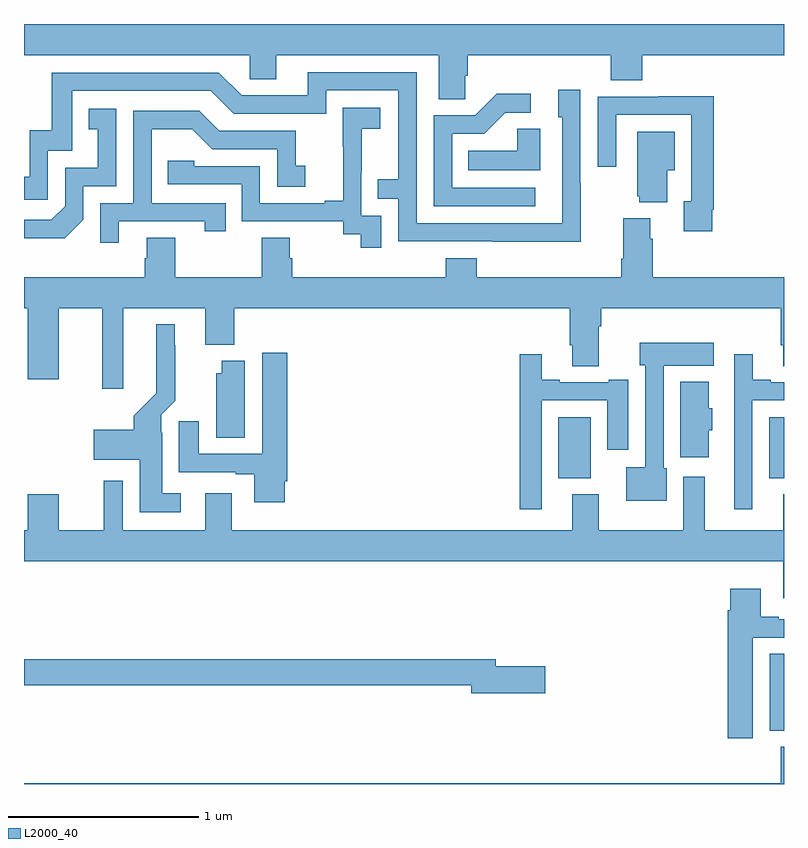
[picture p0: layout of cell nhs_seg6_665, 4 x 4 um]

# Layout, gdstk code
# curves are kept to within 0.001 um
import gdstk
lib = gdstk.Library(unit=1e-6, precision=1e-09)
def R(c, l, rs):  # rectangles x0, y0, x1, y1
    for r in rs: c.add(gdstk.rectangle(r[:2], r[2:], *l))
def P(c, l, *ps):  # polygons
    for p in ps: c.add(gdstk.Polygon(p, *l))
L2000_40 = (2000, 40)

nhs_seg6_665 = lib.new_cell('nhs_seg6_665')
R(nhs_seg6_665, L2000_40, [(156.926,943.781,157,944.186), (155.813,945.11,155.983,945.43), (156.923,945.11,157,945.43)])
P(nhs_seg6_665, L2000_40, [(155.322,947.227),(155.336,947.227),(155.336,947.336),(156.089,947.336),(156.089,947.203),(156.254,947.203),(156.254,947.336),(157,947.336),(157,947.5),(153,947.5),(153,947.336),(154.188,947.336),(154.188,947.209),(154.327,947.209),(154.327,947.336),(155.183,947.336),(155.183,947.104),(155.322,947.104)],
  [(155.931,946.661),(155.928,946.661),(155.928,947.155),(155.813,947.155),(155.813,947.01),(155.832,947.01),(155.832,946.452),(155.067,946.452),(155.067,947.247),(154.493,947.247),(154.493,947.124),(154.146,947.124),(154.026,947.244),(153.147,947.244),(153.147,946.942),(153.029,946.942),(153.029,946.695),(153,946.695),(153,946.575),(153.126,946.575),(153.126,946.833),(153.255,946.833),(153.255,947.148),(153.984,947.148),(154.104,947.028),(154.59,947.028),(154.59,947.151),(154.971,947.151),(154.971,946.682),(154.861,946.682),(154.861,946.581),(154.971,946.581),(154.971,946.356),(155.931,946.355)],
  [(155.692,946.638),(155.253,946.638),(155.253,946.923),(155.422,946.923),(155.533,947.034),(155.668,947.034),(155.668,947.132),(155.489,947.132),(155.376,947.019),(155.157,947.019),(155.157,946.542),(155.692,946.542)],
  [(156.622,946.522),(156.629,946.522),(156.629,947.12),(156.337,947.12),(156.337,947.118),(156.021,947.118),(156.021,946.749),(156.117,946.749),(156.117,947.022),(156.513,947.022),(156.513,946.566),(156.473,946.566),(156.473,946.41),(156.622,946.41)],
  [(154.881,946.491),(154.776,946.491),(154.776,946.721),(154.778,946.721),(154.778,946.949),(154.876,946.949),(154.876,947.059),(154.678,947.059),(154.678,946.853),(154.679,946.853),(154.679,946.57),(154.583,946.57),(154.583,946.557),(154.242,946.557),(154.242,946.752),(153.897,946.752),(153.897,946.779),(153.757,946.779),(153.757,946.656),(154.146,946.656),(154.146,946.461),(154.68,946.461),(154.68,946.393),(154.773,946.393),(154.773,946.323),(154.881,946.323)],
  [(153.312,946.47),(153.312,946.647),(153.486,946.647),(153.486,947.053),(153.34,947.053),(153.34,946.947),(153.389,946.947),(153.389,946.743),(153.216,946.743),(153.216,946.542),(153.144,946.47),(153,946.47),(153,946.373),(153.214,946.373)],
  [(153.499,946.461),(153.95,946.461),(153.95,946.41),(154.061,946.41),(154.061,946.557),(153.672,946.557),(153.672,946.946),(153.886,946.946),(153.99,946.842),(154.332,946.842),(154.332,946.644),(154.48,946.644),(154.48,946.753),(154.431,946.753),(154.431,946.938),(154.027,946.938),(153.922,947.043),(153.576,947.043),(153.576,946.557),(153.402,946.557),(153.402,946.35),(153.499,946.35)],
  [(155.716,946.949),(155.595,946.949),(155.595,946.834),(155.338,946.834),(155.338,946.73),(155.716,946.73)],
  [(156.385,946.73),(156.424,946.73),(156.424,946.933),(156.227,946.933),(156.227,946.593),(156.239,946.593),(156.239,946.562),(156.385,946.562)],
  [(153.523,946.004),(153.953,946.004),(153.953,945.812),(154.106,945.812),(154.106,946.004),(155.873,946.004),(155.873,945.808),(155.885,945.808),(155.885,945.7),(156.025,945.7),(156.025,945.908),(156.038,945.908),(156.038,946.004),(156.983,946.004),(156.983,945.808),(156.995,945.808),(156.995,945.7),(157,945.7),(157,946.168),(156.308,946.168),(156.308,946.37),(156.295,946.37),(156.295,946.477),(156.155,946.477),(156.155,946.264),(156.143,946.264),(156.143,946.168),(155.384,946.168),(155.384,946.267),(155.219,946.267),(155.219,946.168),(154.412,946.168),(154.412,946.266),(154.399,946.266),(154.399,946.376),(154.252,946.376),(154.252,946.168),(153.795,946.168),(153.795,946.376),(153.647,946.376),(153.647,946.266),(153.635,946.266),(153.635,946.168),(153,946.168),(153,946.004),(153.02,946.004),(153.02,945.63),(153.184,945.63),(153.184,946.004),(153.413,946.004),(153.413,945.579),(153.523,945.579)],
  [(153.826,945.031),(153.727,945.031),(153.727,945.35),(153.723,945.35),(153.723,945.444),(153.797,945.518),(153.797,945.809),(153.793,945.809),(153.793,945.919),(153.695,945.919),(153.696,945.556),(153.578,945.438),(153.578,945.364),(153.366,945.364),(153.366,945.206),(153.608,945.206),(153.608,944.93),(153.826,944.93)],
  [(156.382,945.162),(156.366,945.162),(156.366,945.701),(156.631,945.701),(156.631,945.823),(156.242,945.823),(156.242,945.705),(156.27,945.705),(156.27,945.166),(156.17,945.166),(156.17,944.99),(156.382,944.99)],
  [(154.372,945.094),(154.385,945.094),(154.385,945.769),(154.253,945.769),(154.253,945.237),(153.919,945.237),(153.919,945.409),(153.815,945.409),(153.815,945.141),(154.115,945.141),(154.115,945.129),(154.211,945.129),(154.211,944.982),(154.372,944.982)],
  [(156.834,945.519),(157,945.519),(157,945.615),(156.931,945.615),(156.931,945.628),(156.835,945.628),(156.835,945.763),(156.737,945.763),(156.737,945.522),(156.738,945.522),(156.738,945.231),(156.737,945.231),(156.737,944.946),(156.834,944.946)],
  [(155.724,945.519),(156.071,945.519),(156.071,945.258),(156.181,945.258),(156.181,945.628),(156.077,945.628),(156.077,945.615),(155.821,945.615),(155.821,945.628),(155.725,945.628),(155.725,945.763),(155.608,945.763),(155.608,944.946),(155.724,944.946)],
  [(154.162,945.727),(154.04,945.727),(154.04,945.663),(154.013,945.663),(154.013,945.322),(154.162,945.322)],
  [(156.604,945.363),(156.622,945.363),(156.622,945.477),(156.604,945.477),(156.604,945.616),(156.455,945.616),(156.455,945.219),(156.604,945.219)],
  [(157,945.025),(156.995,945.025),(156.995,944.836),(156.583,944.836),(156.583,945.118),(156.47,945.118),(156.47,944.836),(156.025,944.836),(156.025,945.025),(155.885,945.025),(155.885,944.836),(154.093,944.836),(154.093,945.031),(153.953,945.031),(153.953,944.836),(153.519,944.836),(153.519,945.097),(153.421,945.097),(153.421,944.836),(153.184,944.836),(153.184,945.025),(153.02,945.025),(153.02,944.836),(153,944.836),(153,944.672),(156.995,944.672),(156.995,944.478),(157,944.478)],
  [(156.835,944.271),(157,944.271),(157,944.367),(156.973,944.367),(156.973,944.38),(156.877,944.38),(156.877,944.527),(156.716,944.527),(156.716,944.414),(156.704,944.414),(156.704,943.74),(156.835,943.74)],
  [(155.743,944.12),(155.482,944.12),(155.482,944.156),(153,944.156),(153,944.02),(155.354,944.02),(155.354,943.978),(155.743,943.978)],
  [(153,943.5),(157,943.5),(157,943.696),(156.983,943.696),(156.983,943.504),(153,943.504)])

lib.write_gds('nhs_seg6_665.gds')
